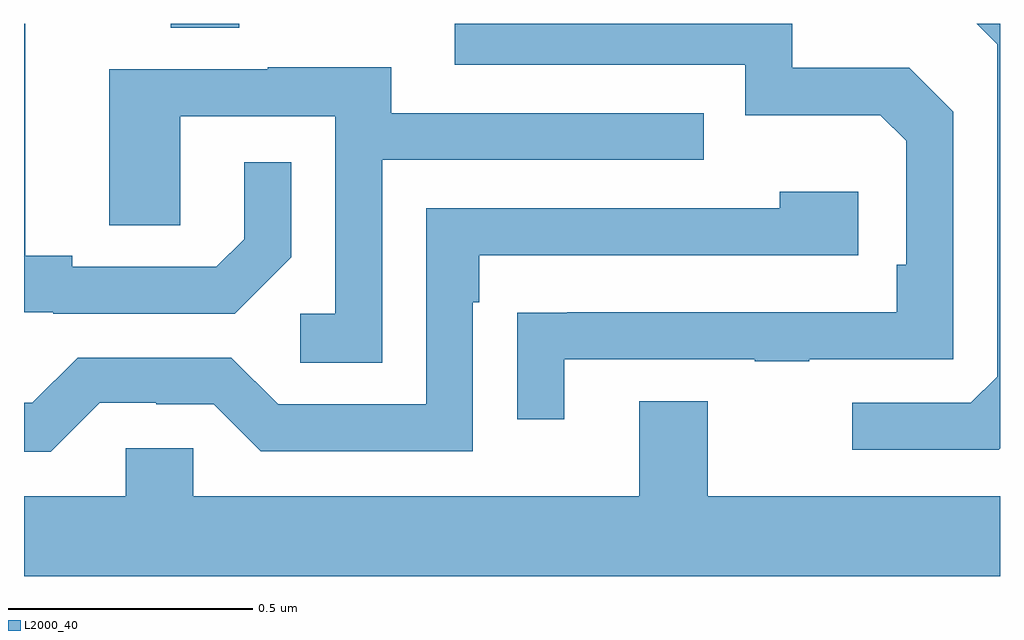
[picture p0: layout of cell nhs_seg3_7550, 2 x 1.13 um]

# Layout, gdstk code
import gdstk
lib = gdstk.Library(unit=1e-6, precision=1e-09)
def R(c, l, rs):  # rectangles x0, y0, x1, y1
    for r in rs: c.add(gdstk.rectangle(r[:2], r[2:], *l))
def P(c, l, *ps):  # polygons
    for p in ps: c.add(gdstk.Polygon(p, *l))
L2000_40 = (2000, 40)

nhs_seg3_7550 = lib.new_cell('nhs_seg3_7550')
R(nhs_seg3_7550, L2000_40, [(205.301,683.392,205.441,683.4)])
P(nhs_seg3_7550, L2000_40, [(207,682.53),(207,683.4),(206.952,683.4),(206.994,683.358),(206.994,682.677),(206.94,682.623),(206.697,682.623),(206.697,682.527),(206.997,682.527)],
  [(205.548,682.922),(205.548,683.116),(205.451,683.116),(205.451,682.959),(205.394,682.902),(205.099,682.902),(205.099,682.925),(205.003,682.925),(205.003,683.4),(205,683.4),(205,682.809),(205.06,682.809),(205.06,682.806),(205.432,682.806)],
  [(206.107,682.713),(206.497,682.713),(206.497,682.708),(206.609,682.708),(206.609,682.713),(206.904,682.713),(206.904,683.22),(206.814,683.31),(206.574,683.31),(206.574,683.4),(205.883,683.4),(205.883,683.316),(206.478,683.316),(206.478,683.213),(206.755,683.213),(206.808,683.16),(206.808,682.906),(206.788,682.906),(206.788,682.809),(206.113,682.809),(206.113,682.808),(206.011,682.808),(206.011,682.59),(206.107,682.59)],
  [(205.734,683.121),(206.393,683.121),(206.393,683.217),(205.753,683.217),(205.753,683.311),(205.499,683.311),(205.499,683.307),(205.175,683.307),(205.175,682.987),(205.32,682.987),(205.32,683.211),(205.638,683.211),(205.638,682.806),(205.566,682.806),(205.566,682.705),(205.734,682.705)],
  [(205.155,682.623),(205.271,682.623),(205.271,682.62),(205.389,682.62),(205.485,682.524),(205.92,682.524),(205.92,682.829),(205.933,682.829),(205.933,682.926),(206.71,682.926),(206.71,683.056),(206.549,683.056),(206.549,683.022),(205.824,683.022),(205.824,682.62),(205.521,682.62),(205.425,682.716),(205.11,682.716),(205.017,682.623),(205,682.623),(205,682.523),(205.055,682.523)],
  [(207,682.432),(206.401,682.432),(206.401,682.627),(206.261,682.627),(206.261,682.432),(205.347,682.432),(205.347,682.53),(205.209,682.53),(205.209,682.432),(205,682.432),(205,682.268),(207,682.268)])

lib.write_gds('nhs_seg3_7550.gds')
